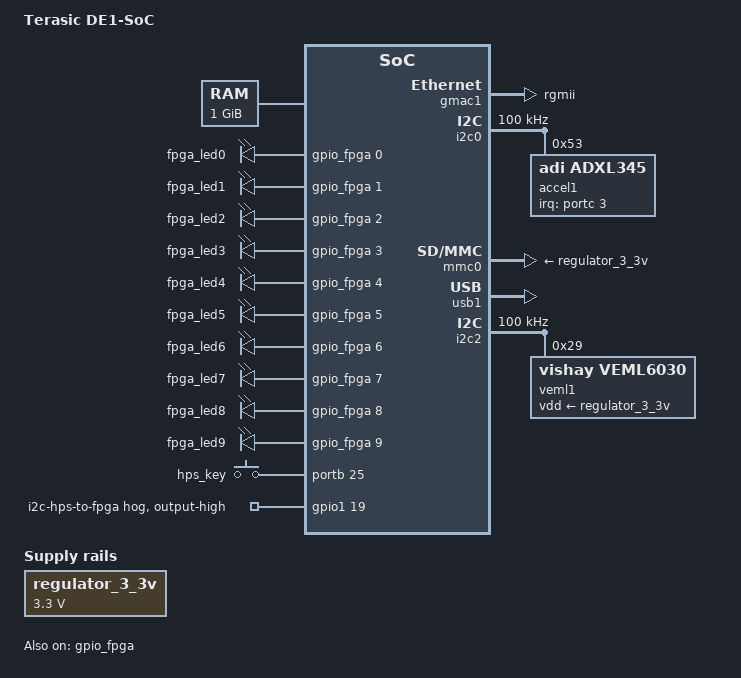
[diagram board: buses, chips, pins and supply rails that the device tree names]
// SPDX-License-Identifier: GPL-2.0+
/*
 * Copyright (C) 2013 Steffen Trumtrar <s.trumtrar@pengutronix.de>
 */

#include "socfpga_cyclone5.dtsi"

/ {
	model = "Terasic DE1-SoC";
	compatible = "terasic,socfpga-cyclone5-sockit", "altr,socfpga-cyclone5", "altr,socfpga";

	chosen {
		bootargs = "earlyprintk";
		stdout-path = "serial0:115200n8";
	};

	memory@0 {
		name = "memory";
		device_type = "memory";
		reg = <0x0 0x40000000>; /* 1GB */
	};

	aliases {
		/* this allow the ethaddr uboot environmnet variable contents
		 * to be added to the gmac1 device tree blob.
		 */
		ethernet0 = &gmac1;
	};

	leds {
		compatible = "gpio-leds";
		
		fpga_led0 {
			label = "fpga_led0";
			gpios = <&gpio_fpga 0 0>;
		};
		
		fpga_led1 {
			label = "fpga_led1";
			gpios = <&gpio_fpga 1 0>;
		};
		
		fpga_led2 {
			label = "fpga_led2";
			gpios = <&gpio_fpga 2 0>;
		};
		
		fpga_led3 {
			label = "fpga_led3";
			gpios = <&gpio_fpga 3 0>;
		};
		
		fpga_led4 {
			label = "fpga_led4";
			gpios = <&gpio_fpga 4 0>;
		};
		
		fpga_led5 {
			label = "fpga_led5";
			gpios = <&gpio_fpga 5 0>;
		};
		
		fpga_led6 {
			label = "fpga_led6";
			gpios = <&gpio_fpga 6 0>;
		};
		
		fpga_led7 {
			label = "fpga_led7";
			gpios = <&gpio_fpga 7 0>;
		};
		
		fpga_led8 {
			label = "fpga_led8";
			gpios = <&gpio_fpga 8 0>;
		};
		
		fpga_led9 {
			label = "fpga_led9";
			gpios = <&gpio_fpga 9 0>;
		};

	};
	
	soc {
		gpio_fpga: gpio@ff200070 {
			compatible = "altr,pio-1.0";
			reg = <0xff200070 0x10>;
			altr,ngpio = <10>;
			#gpio-cells = <2>;
			gpio-controller;
			status = "okay";
		};
	};

	gpio-keys {
		compatible = "gpio-keys";

		hps_key {
			label = "hps_key";
			gpios = <&portb 25 0>;	/* HPS_GPIO54 */
			linux,code = <16>;	/* Q */
		};

	};

	regulator_3_3v: regulator {
		compatible = "regulator-fixed";
		regulator-name = "VCC3P3";
		regulator-min-microvolt = <3300000>;
		regulator-max-microvolt = <3300000>;
	};
};

&fpga_bridge0 {
	status = "okay";
};

&gmac1 {
	status = "okay";
	phy-mode = "rgmii";

	rxd0-skew-ps = <0>;
	rxd1-skew-ps = <0>;
	rxd2-skew-ps = <0>;
	rxd3-skew-ps = <0>;
	txen-skew-ps = <0>;
	txc-skew-ps = <2600>;
	rxdv-skew-ps = <0>;
	rxc-skew-ps = <2000>;
};

&gpio0 {	/* GPIO 0..29 */
	status = "okay";
};

&gpio1 {	/* GPIO 30..57 */
	status = "okay";
	
	i2c_mux_select: i2c-mux-select {
		gpio-hog;
		gpios = <19 0>;
		output-high;
		line-name = "i2c-hps-to-fpga";
	};
};

&gpio2 {	/* GPIO 58..66 (HLGPI 0..13 at offset 13) */
	status = "okay";
};

&i2c0 {
	status = "okay";
	clock-frequency = <100000>;
	
	accel1: accelerometer@53 {
		compatible = "adi,adxl345";
		reg = <0x53>;

		interrupt-parent = <&portc>;
		interrupts = <3 2>;
	};
};

&mmc0 {
	vmmc-supply = <&regulator_3_3v>;
	vqmmc-supply = <&regulator_3_3v>;
	status = "okay";
};

&usb1 {
	status = "okay";
};


&i2c2 {
	status = "okay";
	clock-frequency = <100000>;
	
	veml1: veml6035@29 {
		compatible = "vishay,veml6030";
		reg = <0x29>;
		
		vdd-supply = <&regulator_3_3v>;
	};
	
};



